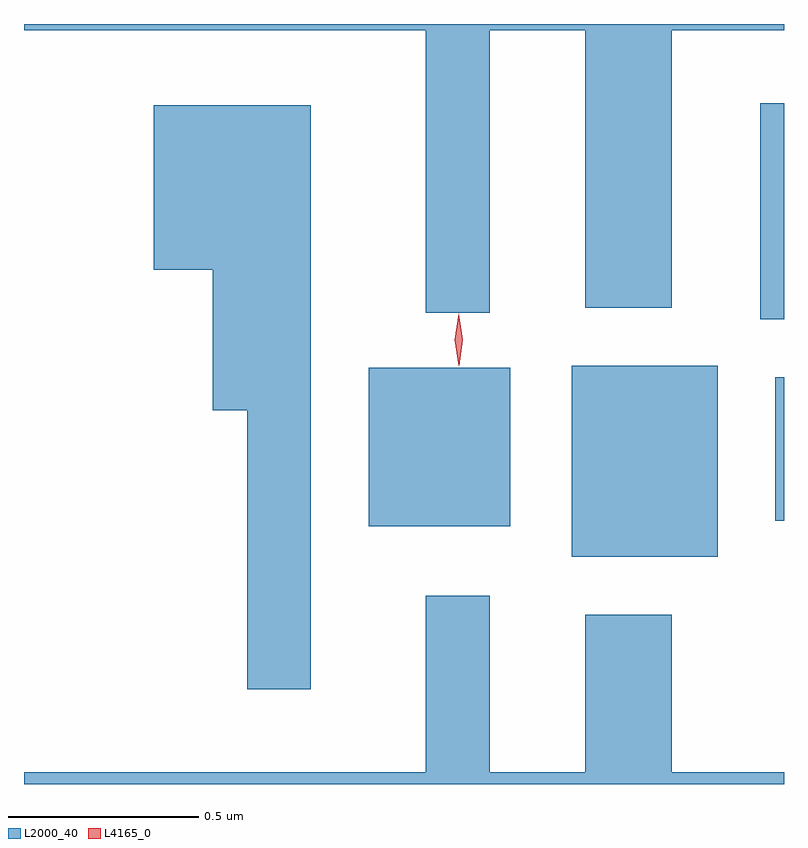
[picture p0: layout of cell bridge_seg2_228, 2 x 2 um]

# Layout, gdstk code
import gdstk
lib = gdstk.Library(unit=1e-6, precision=1e-09)
def R(c, l, rs):  # rectangles x0, y0, x1, y1
    for r in rs: c.add(gdstk.rectangle(r[:2], r[2:], *l))
def P(c, l, *ps):  # polygons
    for p in ps: c.add(gdstk.Polygon(p, *l))
L2000_40 = (2000, 40)
L4165_0 = (4165, 0)

bridge_seg2_228 = lib.new_cell('bridge_seg2_228')
R(bridge_seg2_228, L2000_40, [(526.826,1091.331,527.209,1091.834), (526.291,1091.411,526.664,1091.829), (527.361,1091.426,527.384,1091.804), (527.321,1091.956,527.384,1092.524)])
P(bridge_seg2_228, L2000_40, [(526.609,1092.716),(526.861,1092.716),(526.861,1091.986),(527.089,1091.986),(527.089,1092.716),(527.384,1092.716),(527.384,1092.733),(525.384,1092.733),(525.384,1092.716),(526.441,1092.716),(526.441,1091.973),(526.609,1091.973)],
  [(526.139,1092.519),(525.726,1092.519),(525.726,1092.086),(525.881,1092.086),(525.881,1091.716),(525.971,1091.716),(525.971,1090.983),(526.139,1090.983)],
  [(527.384,1090.764),(527.089,1090.764),(527.089,1091.179),(526.861,1091.179),(526.861,1090.764),(526.609,1090.764),(526.609,1091.228),(526.441,1091.228),(526.441,1090.764),(525.384,1090.764),(525.384,1090.733),(527.384,1090.733)])
P(bridge_seg2_228, L4165_0, [(526.528,1091.834),(526.518,1091.902),(526.528,1091.97),(526.528,1091.97),(526.528,1091.97),(526.538,1091.902),(526.529,1091.834),(526.529,1091.834)],
  [(526.529,1091.838),(526.528,1091.839),(526.518,1091.902),(526.528,1091.966),(526.528,1091.967),(526.528,1091.966),(526.538,1091.903),(526.529,1091.839)])

lib.write_gds('bridge_seg2_228.gds')
